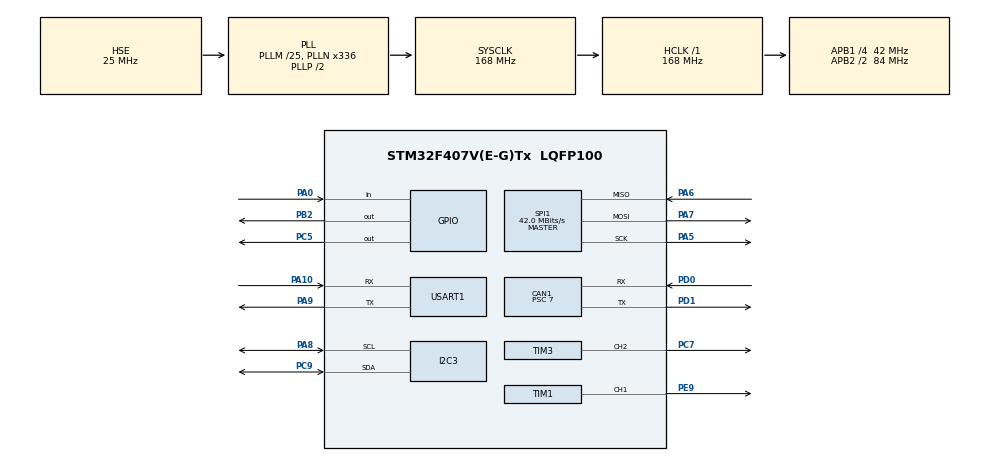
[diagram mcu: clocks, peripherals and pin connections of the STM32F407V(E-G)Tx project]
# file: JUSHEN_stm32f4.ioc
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CAN1.BS1=CAN_BS1_8TQ
CAN1.BS2=CAN_BS2_3TQ
CAN1.CalculateBaudRate=499999
CAN1.CalculateTimeBit=2000
CAN1.CalculateTimeQuantum=166.66666666666669
CAN1.Prescaler=7
Mcu.Family=STM32F4
Mcu.Name=STM32F407V(E-G)Tx
Mcu.Package=LQFP100
NVIC.PriorityGroup=NVIC_PRIORITYGROUP_4
PA0-WKUP.Signal=GPIO_Input
PA10.Mode=Asynchronous
PA10.Signal=USART1_RX
PD0.Mode=CAN_Activate
PD0.Signal=CAN1_RX
PD1.Mode=CAN_Activate
PD1.Signal=CAN1_TX
PA13.Mode=Serial_Wire
PA13.Signal=SYS_JTMS-SWDIO
PA14.Mode=Serial_Wire
PA14.Signal=SYS_JTCK-SWCLK
PA5.Mode=Full_Duplex_Master
PA5.Signal=SPI1_SCK
PA6.Mode=Full_Duplex_Master
PA6.Signal=SPI1_MISO
PA7.Mode=Full_Duplex_Master
PA7.Signal=SPI1_MOSI
PA9.Mode=Asynchronous
PA9.Signal=USART1_TX
PB2.Signal=GPIO_Output
PA8.Mode=I2C
PA8.Signal=I2C3_SCL
PC9.Mode=I2C
PC9.Signal=I2C3_SDA
PC14-OSC32_IN.Mode=LSE-External-Oscillator
PC14-OSC32_IN.Signal=RCC_OSC32_IN
PC15-OSC32_OUT.Mode=LSE-External-Oscillator
PC15-OSC32_OUT.Signal=RCC_OSC32_OUT
PC5.Signal=GPIO_Output
PC7.Signal=S_TIM3_CH2
PE9.GPIO_PuPd=GPIO_PULLDOWN
PE9.GPIO_Speed=GPIO_SPEED_FREQ_HIGH
PE9.Signal=S_TIM1_CH1
PH0-OSC_IN.Mode=HSE-External-Oscillator
PH0-OSC_IN.Signal=RCC_OSC_IN
PH1-OSC_OUT.Mode=HSE-External-Oscillator
PH1-OSC_OUT.Signal=RCC_OSC_OUT
ProjectManager.HeapSize=0x200
ProjectManager.StackSize=0x400
ProjectManager.TargetToolchain=MDK-ARM V5.32
RCC.48MHZClocksFreq_Value=84000000
RCC.AHBFreq_Value=168000000
RCC.APB1CLKDivider=RCC_HCLK_DIV4
RCC.APB1Freq_Value=42000000
RCC.APB1TimFreq_Value=84000000
RCC.APB2CLKDivider=RCC_HCLK_DIV2
RCC.APB2Freq_Value=84000000
RCC.APB2TimFreq_Value=168000000
RCC.CortexFreq_Value=168000000
RCC.HCLKFreq_Value=168000000
RCC.HSE_VALUE=25000000
RCC.HSI_VALUE=16000000
RCC.PLLM=25
RCC.PLLN=336
RCC.PLLSourceVirtual=RCC_PLLSOURCE_HSE
RCC.SYSCLKFreq_VALUE=168000000
RCC.SYSCLKSource=RCC_SYSCLKSOURCE_PLLCLK
RCC.VCOOutputFreq_Value=336000000
SH.S_TIM1_CH1.0=TIM1_CH1,PWM Generation1 CH1
SH.S_TIM3_CH2.0=TIM3_CH2,PWM Generation2 CH2
SPI1.CalculateBaudRate=42.0 MBits/s
SPI1.Direction=SPI_DIRECTION_2LINES
SPI1.Mode=SPI_MODE_MASTER
SPI1.VirtualType=VM_MASTER
TIM1.AutoReloadPreload=TIM_AUTORELOAD_PRELOAD_ENABLE
TIM1.Channel-PWM\ Generation1\ CH1=TIM_CHANNEL_1
TIM1.Period=1000
TIM1.Prescaler=168-1
TIM1.Pulse-PWM\ Generation1\ CH1=500
TIM3.AutoReloadPreload=TIM_AUTORELOAD_PRELOAD_ENABLE
TIM3.Channel-PWM\ Generation2\ CH2=TIM_CHANNEL_2
TIM3.OC2Preload_PWM=DISABLE
TIM3.Period=1000
TIM3.Prescaler=168-1
TIM3.Pulse-PWM\ Generation2\ CH2=100
USART1.VirtualMode=VM_ASYNC
VP_TIM1_VS_ClockSourceINT.Mode=Internal
VP_TIM3_VS_ClockSourceINT.Mode=Internal
board=custom

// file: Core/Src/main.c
/* USER CODE BEGIN Header */
/**
  ******************************************************************************
  * @file           : main.c
  * @brief          : Main program body
  ******************************************************************************
  * @attention
  *
  * Copyright (c) 2026 STMicroelectronics.
  * All rights reserved.
  *
  * This software is licensed under terms that can be found in the LICENSE file
  * in the root directory of this software component.
  * If no LICENSE file comes with this software, it is provided AS-IS.
  *
  ******************************************************************************
  */
/* USER CODE END Header */
#include "main.h"

/* USER CODE BEGIN Includes */
#include "bms.h"
#include "can.h"
#include "power_manager.h"
#include "power_comm_slave.h"
#include <stdio.h>
/* USER CODE END Includes */

CAN_HandleTypeDef hcan1;

I2C_HandleTypeDef hi2c3;

SPI_HandleTypeDef hspi1;

TIM_HandleTypeDef htim1;
TIM_HandleTypeDef htim3;

UART_HandleTypeDef huart1;

/* USER CODE BEGIN PV */
CAN_TxHeaderTypeDef TxHeader;
CAN_RxHeaderTypeDef RxHeader;
uint8_t TxData[8];
uint8_t RxData[8];
uint32_t TxMailbox;

#define SPI_CS_GPIO_PORT GPIOB
#define SPI_CS_PIN GPIO_PIN_1
/* USER CODE END PV */

void SystemClock_Config(void);
static void MX_GPIO_Init(void);
static void MX_CAN1_Init(void);
static void MX_I2C3_Init(void);
static void MX_USART1_UART_Init(void);
static void MX_SPI1_Init(void);
static void MX_TIM1_Init(void);
static void MX_TIM3_Init(void);

/* USER CODE BEGIN 0 */
void CAN_Filter_Config(void)
{
    CAN_FilterTypeDef CAN_FilterConfig;

    CAN_FilterConfig.FilterBank = 0;
    CAN_FilterConfig.FilterMode = CAN_FILTERMODE_IDMASK;
    CAN_FilterConfig.FilterScale = CAN_FILTERSCALE_32BIT;
    CAN_FilterConfig.FilterIdHigh = 0x0000;
    CAN_FilterConfig.FilterIdLow = 0x0000;
    CAN_FilterConfig.FilterMaskIdHigh = 0x0000;
    CAN_FilterConfig.FilterMaskIdLow = 0x0000;
    CAN_FilterConfig.FilterFIFOAssignment = CAN_RX_FIFO0;
    CAN_FilterConfig.FilterActivation = ENABLE;
    CAN_FilterConfig.SlaveStartFilterBank = 14;

    if(HAL_CAN_ConfigFilter(&hcan1, &CAN_FilterConfig) != HAL_OK)
    {
        Error_Handler();
    }
}

HAL_StatusTypeDef CAN_Send_Message(uint16_t StdId, uint8_t *Data, uint8_t Length)
{
    TxHeader.StdId = StdId;
    TxHeader.ExtId = 0x00;
    TxHeader.IDE = CAN_ID_STD;
    TxHeader.RTR = CAN_RTR_DATA;
    TxHeader.DLC = Length;
    TxHeader.TransmitGlobalTime = DISABLE;

    if(HAL_CAN_AddTxMessage(&hcan1, &TxHeader, Data, &TxMailbox) != HAL_OK)
    {
        return HAL_ERROR;
    }
    return HAL_OK;
}

void SPI_CS_Select(void)
{
    HAL_GPIO_WritePin(SPI_CS_GPIO_PORT, SPI_CS_PIN, GPIO_PIN_RESET);
}

void SPI_CS_Deselect(void)
{
    HAL_GPIO_WritePin(SPI_CS_GPIO_PORT, SPI_CS_PIN, GPIO_PIN_SET);
}
/* USER CODE END 0 */

int main(void)
{

  /* MCU Configuration--------------------------------------------------------*/

  /* Reset of all peripherals, Initializes the Flash interface and the Systick. */
  HAL_Init();

  /* Configure the system clock */
  SystemClock_Config();

  /* Initialize all configured peripherals */
  MX_GPIO_Init();
  MX_CAN1_Init();
  MX_I2C3_Init();
  MX_USART1_UART_Init();
  MX_SPI1_Init();
  MX_TIM1_Init();
  MX_TIM3_Init();
  /* USER CODE BEGIN 2 */
  HAL_TIM_PWM_Start(&htim1, TIM_CHANNEL_1);
  HAL_TIM_PWM_Start(&htim3, TIM_CHANNEL_2);
  /* USER CODE END 2 */

  /* Infinite loop */
  /* USER CODE BEGIN WHILE */
#if 0
  uint8_t spi_tx_buf[8] = {0x01, 0x02, 0x03, 0x04, 0x05, 0x06, 0x07, 0x08};
  uint8_t spi_rx_buf[8];
#endif
  uint16_t pwm_duty = 0;
  int pwm_dir = 1;
  uint32_t tick_count = 0;
  uint32_t last_query_tick = 0;
  uint8_t query_index = 0;
  BMS_QueryTypeDef query_sequence[] = {
      BMS_QUERY_BASIC_STATUS,
      BMS_QUERY_CELL_VOLTAGE,
      BMS_QUERY_TEMP_VERSION,
      BMS_QUERY_LIMIT_PARAMS,
      BMS_QUERY_EXTENDED_STATUS
  };

  BMS_Init(&g_bms_handle);
  CAN_Init();

  PowerManager_Init(&g_power_manager);
  PowerCommSlave_Init(&g_power_comm, POWER_COMM_I2C);

  printf("\r\n========================================\r\n");
  printf("STM32F4 Power Management System\r\n");
  printf("Version: 1.0.0\r\n");
  printf("Comm Mode: I2C (Address: 0x%02X)\r\n", POWER_COMM_I2C_ADDRESS);
  printf("========================================\r\n");

  while (1)
  {
    tick_count++;

    pwm_duty += pwm_dir * 10;
    if(pwm_duty >= 1000)
    {
        pwm_duty = 1000;
        pwm_dir = -1;
    }
    if(pwm_duty <= 0)
    {
        pwm_duty = 0;
        pwm_dir = 1;
    }

    __HAL_TIM_SET_COMPARE(&htim3, TIM_CHANNEL_2, pwm_duty);

    CAN_RxFrameTypeDef rx_frame;
    while(CAN_GetRxFrame(&rx_frame))
    {
        BMS_ParseFrame(&g_bms_handle, rx_frame.StdId, rx_frame.Data, rx_frame.DLC);
        g_power_manager.can_rx_count++;
    }

    if(tick_count - last_query_tick >= 100)
    {
        last_query_tick = tick_count;
        BMS_SendControlFrame(&g_bms_handle, BMS_MSG_IDLE, query_sequence[query_index], BMS_CHARGER_CTRL_MANUAL_ON);
        query_index = (query_index + 1) % 5;
    }

    BMS_Process(&g_bms_handle, HAL_GetTick());

    PowerManager_UpdateFromBMS(&g_power_manager, &g_bms_handle);

    PowerManager_Process(&g_power_manager, HAL_GetTick());

    PowerCommSlave_Process(&g_power_comm, &g_power_manager);

    BMS_SafeStateTypeDef safe_state = BMS_Safety_GetState(&g_bms_handle);
    BMS_ProtectActionTypeDef protect_action = BMS_Safety_GetProtection(&g_bms_handle);

    bool charge_allowed = BMS_IsChargeAllowed(&g_bms_handle);
    bool discharge_allowed = BMS_IsDischargeAllowed(&g_bms_handle);

    bool operation_safe = PowerManager_IsOperationSafe(&g_power_manager);

    if(tick_count % 500 == 0)
    {
        printf("[Power] SOC=%d%%, SOH=%d%%, State=%s, Level=%s\r\n",
               g_power_manager.battery.soc,
               g_power_manager.battery.soh,
               PowerManager_GetStateString(g_power_manager.system_state),
               PowerManager_GetPowerLevelString(g_power_manager.power_level));

        if (PowerManager_HasPendingEvent(&g_power_manager)) {
            uint8_t event_data;
            EventType_t event = PowerManager_GetPendingEvent(&g_power_manager, &event_data);
            printf("[Power] Event: %s (data=%d)\r\n",
                   PowerManager_GetEventString(event), event_data);
        }
    }

    if(tick_count % 100 == 0)
    {
        static uint8_t motor_sim_id = 0;
        static uint16_t motor_sim_voltage = 48000;
        static int16_t motor_sim_current = 1500;

        PowerManager_UpdateMotorStatus(&g_power_manager, motor_sim_id,
                                       motor_sim_voltage, motor_sim_current,
                                       true, false, false);

        motor_sim_id = (motor_sim_id + 1) % 4;
        motor_sim_voltage = 48000 + (tick_count % 100) * 10;
        motor_sim_current = 1500 + (tick_count % 50) * 20;
    }

    HAL_Delay(10);
    /* USER CODE END WHILE */

  }
}

void SystemClock_Config(void)
{
  RCC_OscInitTypeDef RCC_OscInitStruct = {0};
  RCC_ClkInitTypeDef RCC_ClkInitStruct = {0};

  /** Configure the main internal regulator output voltage
  */
  __HAL_RCC_PWR_CLK_ENABLE();
  __HAL_PWR_VOLTAGESCALING_CONFIG(PWR_REGULATOR_VOLTAGE_SCALE1);

  /** Initializes the RCC Oscillators according to the specified parameters
  * in the RCC_OscInitTypeDef structure.
  */
  RCC_OscInitStruct.OscillatorType = RCC_OSCILLATORTYPE_HSE;
  RCC_OscInitStruct.HSEState = RCC_HSE_ON;
  RCC_OscInitStruct.PLL.PLLState = RCC_PLL_ON;
  RCC_OscInitStruct.PLL.PLLSource = RCC_PLLSOURCE_HSE;
  RCC_OscInitStruct.PLL.PLLM = 25;
  RCC_OscInitStruct.PLL.PLLN = 336;
  RCC_OscInitStruct.PLL.PLLP = RCC_PLLP_DIV2;
  RCC_OscInitStruct.PLL.PLLQ = 4;
  if (HAL_RCC_OscConfig(&RCC_OscInitStruct) != HAL_OK)
  {
    Error_Handler();
  }

  /** Initializes the CPU, AHB and APB buses clocks
  */
  RCC_ClkInitStruct.ClockType = RCC_CLOCKTYPE_HCLK|RCC_CLOCKTYPE_SYSCLK
                              |RCC_CLOCKTYPE_PCLK1|RCC_CLOCKTYPE_PCLK2;
  RCC_ClkInitStruct.SYSCLKSource = RCC_SYSCLKSOURCE_PLLCLK;
  RCC_ClkInitStruct.AHBCLKDivider = RCC_SYSCLK_DIV1;
  RCC_ClkInitStruct.APB1CLKDivider = RCC_HCLK_DIV4;
  RCC_ClkInitStruct.APB2CLKDivider = RCC_HCLK_DIV2;

  if (HAL_RCC_ClockConfig(&RCC_ClkInitStruct, FLASH_LATENCY_5) != HAL_OK)
  {
    Error_Handler();
  }
}

static void MX_CAN1_Init(void)
{

  hcan1.Instance = CAN1;
  hcan1.Init.Prescaler = 7;
  hcan1.Init.Mode = CAN_MODE_NORMAL;
  hcan1.Init.SyncJumpWidth = CAN_SJW_1TQ;
  hcan1.Init.TimeSeg1 = CAN_BS1_8TQ;
  hcan1.Init.TimeSeg2 = CAN_BS2_3TQ;
  hcan1.Init.TimeTriggeredMode = DISABLE;
  hcan1.Init.AutoBusOff = DISABLE;
  hcan1.Init.AutoWakeUp = DISABLE;
  hcan1.Init.AutoRetransmission = DISABLE;
  hcan1.Init.ReceiveFifoLocked = DISABLE;
  hcan1.Init.TransmitFifoPriority = DISABLE;
  if (HAL_CAN_Init(&hcan1) != HAL_OK)
  {
    Error_Handler();
  }
  /* USER CODE BEGIN CAN1_Init 2 */
  /* CAN_Init()会在用户代码区域调用，这里只做HAL层初始化 */
  /* USER CODE END CAN1_Init 2 */

}

static void MX_I2C3_Init(void)
{

  hi2c3.Instance = I2C3;
  hi2c3.Init.ClockSpeed = 100000;
  hi2c3.Init.DutyCycle = I2C_DUTYCYCLE_2;
  hi2c3.Init.OwnAddress1 = (POWER_COMM_I2C_ADDRESS << 1);
  hi2c3.Init.AddressingMode = I2C_ADDRESSINGMODE_7BIT;
  hi2c3.Init.DualAddressMode = I2C_DUALADDRESS_DISABLE;
  hi2c3.Init.OwnAddress2 = 0;
  hi2c3.Init.GeneralCallMode = I2C_GENERALCALL_DISABLE;
  hi2c3.Init.NoStretchMode = I2C_NOSTRETCH_DISABLE;
  if (HAL_I2C_Init(&hi2c3) != HAL_OK)
  {
    Error_Handler();
  }

}

static void MX_SPI1_Init(void)
{

  /* SPI1 parameter configuration*/
  hspi1.Instance = SPI1;
  hspi1.Init.Mode = SPI_MODE_MASTER;
  hspi1.Init.Direction = SPI_DIRECTION_2LINES;
  hspi1.Init.DataSize = SPI_DATASIZE_8BIT;
  hspi1.Init.CLKPolarity = SPI_POLARITY_LOW;
  hspi1.Init.CLKPhase = SPI_PHASE_1EDGE;
  hspi1.Init.NSS = SPI_NSS_SOFT;
  hspi1.Init.BaudRatePrescaler = SPI_BAUDRATEPRESCALER_2;
  hspi1.Init.FirstBit = SPI_FIRSTBIT_MSB;
  hspi1.Init.TIMode = SPI_TIMODE_DISABLE;
  hspi1.Init.CRCCalculation = SPI_CRCCALCULATION_DISABLE;
  hspi1.Init.CRCPolynomial = 10;
  if (HAL_SPI_Init(&hspi1) != HAL_OK)
  {
    Error_Handler();
  }

}

static void MX_TIM1_Init(void)
{

  TIM_ClockConfigTypeDef sClockSourceConfig = {0};
  TIM_MasterConfigTypeDef sMasterConfig = {0};
  TIM_OC_InitTypeDef sConfigOC = {0};
  TIM_BreakDeadTimeConfigTypeDef sBreakDeadTimeConfig = {0};

  htim1.Instance = TIM1;
  htim1.Init.Prescaler = 168-1;
  htim1.Init.CounterMode = TIM_COUNTERMODE_UP;
  htim1.Init.Period = 1000;
  htim1.Init.ClockDivision = TIM_CLOCKDIVISION_DIV1;
  htim1.Init.RepetitionCounter = 0;
  htim1.Init.AutoReloadPreload = TIM_AUTORELOAD_PRELOAD_ENABLE;
  if (HAL_TIM_Base_Init(&htim1) != HAL_OK)
  {
    Error_Handler();
  }
  sClockSourceConfig.ClockSource = TIM_CLOCKSOURCE_INTERNAL;
  if (HAL_TIM_ConfigClockSource(&htim1, &sClockSourceConfig) != HAL_OK)
  {
    Error_Handler();
  }
  if (HAL_TIM_PWM_Init(&htim1) != HAL_OK)
  {
    Error_Handler();
  }
  sMasterConfig.MasterOutputTrigger = TIM_TRGO_RESET;
  sMasterConfig.MasterSlaveMode = TIM_MASTERSLAVEMODE_DISABLE;
  if (HAL_TIMEx_MasterConfigSynchronization(&htim1, &sMasterConfig) != HAL_OK)
  {
    Error_Handler();
  }
  sConfigOC.OCMode = TIM_OCMODE_PWM1;
  sConfigOC.Pulse = 500;
  sConfigOC.OCPolarity = TIM_OCPOLARITY_HIGH;
  sConfigOC.OCNPolarity = TIM_OCNPOLARITY_HIGH;
  sConfigOC.OCFastMode = TIM_OCFAST_DISABLE;
  sConfigOC.OCIdleState = TIM_OCIDLESTATE_RESET;
  sConfigOC.OCNIdleState = TIM_OCNIDLESTATE_RESET;
  if (HAL_TIM_PWM_ConfigChannel(&htim1, &sConfigOC, TIM_CHANNEL_1) != HAL_OK)
  {
    Error_Handler();
  }
  sBreakDeadTimeConfig.OffStateRunMode = TIM_OSSR_DISABLE;
  sBreakDeadTimeConfig.OffStateIDLEMode = TIM_OSSI_DISABLE;
  sBreakDeadTimeConfig.LockLevel = TIM_LOCKLEVEL_OFF;
  sBreakDeadTimeConfig.DeadTime = 0;
  sBreakDeadTimeConfig.BreakState = TIM_BREAK_DISABLE;
  sBreakDeadTimeConfig.BreakPolarity = TIM_BREAKPOLARITY_HIGH;
  sBreakDeadTimeConfig.AutomaticOutput = TIM_AUTOMATICOUTPUT_DISABLE;
  if (HAL_TIMEx_ConfigBreakDeadTime(&htim1, &sBreakDeadTimeConfig) != HAL_OK)
  {
    Error_Handler();
  }
  HAL_TIM_MspPostInit(&htim1);

}

static void MX_TIM3_Init(void)
{

  TIM_ClockConfigTypeDef sClockSourceConfig = {0};
  TIM_MasterConfigTypeDef sMasterConfig = {0};
  TIM_OC_InitTypeDef sConfigOC = {0};

  htim3.Instance = TIM3;
  htim3.Init.Prescaler = 168-1;
  htim3.Init.CounterMode = TIM_COUNTERMODE_UP;
  htim3.Init.Period = 1000;
  htim3.Init.ClockDivision = TIM_CLOCKDIVISION_DIV1;
  htim3.Init.AutoReloadPreload = TIM_AUTORELOAD_PRELOAD_ENABLE;
  if (HAL_TIM_Base_Init(&htim3) != HAL_OK)
  {
    Error_Handler();
  }
  sClockSourceConfig.ClockSource = TIM_CLOCKSOURCE_INTERNAL;
  if (HAL_TIM_ConfigClockSource(&htim3, &sClockSourceConfig) != HAL_OK)
  {
    Error_Handler();
  }
  if (HAL_TIM_PWM_Init(&htim3) != HAL_OK)
  {
    Error_Handler();
  }
  sMasterConfig.MasterOutputTrigger = TIM_TRGO_RESET;
  sMasterConfig.MasterSlaveMode = TIM_MASTERSLAVEMODE_DISABLE;
  if (HAL_TIMEx_MasterConfigSynchronization(&htim3, &sMasterConfig) != HAL_OK)
  {
    Error_Handler();
  }
  sConfigOC.OCMode = TIM_OCMODE_PWM1;
  sConfigOC.Pulse = 100;
  sConfigOC.OCPolarity = TIM_OCPOLARITY_HIGH;
  sConfigOC.OCFastMode = TIM_OCFAST_DISABLE;
  if (HAL_TIM_PWM_ConfigChannel(&htim3, &sConfigOC, TIM_CHANNEL_2) != HAL_OK)
  {
    Error_Handler();
  }
  __HAL_TIM_DISABLE_OCxPRELOAD(&htim3, TIM_CHANNEL_2);
  HAL_TIM_MspPostInit(&htim3);

}

static void MX_USART1_UART_Init(void)
{

  huart1.Instance = USART1;
  huart1.Init.BaudRate = 115200;
  huart1.Init.WordLength = UART_WORDLENGTH_8B;
  huart1.Init.StopBits = UART_STOPBITS_1;
  huart1.Init.Parity = UART_PARITY_NONE;
  huart1.Init.Mode = UART_MODE_TX_RX;
  huart1.Init.HwFlowCtl = UART_HWCONTROL_NONE;
  huart1.Init.OverSampling = UART_OVERSAMPLING_16;
  if (HAL_UART_Init(&huart1) != HAL_OK)
  {
    Error_Handler();
  }

}

static void MX_GPIO_Init(void)
{
  GPIO_InitTypeDef GPIO_InitStruct = {0};

  /* GPIO Ports Clock Enable */
  __HAL_RCC_GPIOC_CLK_ENABLE();
  __HAL_RCC_GPIOH_CLK_ENABLE();
  __HAL_RCC_GPIOA_CLK_ENABLE();
  __HAL_RCC_GPIOB_CLK_ENABLE();
  __HAL_RCC_GPIOE_CLK_ENABLE();
  __HAL_RCC_GPIOD_CLK_ENABLE();  /* ✅ 使能GPIOD时钟（用于CAN1: PD0/PD1） */

  /*Configure GPIO pin Output Level */
  HAL_GPIO_WritePin(GPIOC, GPIO_PIN_5, GPIO_PIN_RESET);

  /*Configure GPIO pin Output Level */
  HAL_GPIO_WritePin(GPIOB, GPIO_PIN_2, GPIO_PIN_RESET);

  /*Configure GPIO pin : PA0 */
  GPIO_InitStruct.Pin = GPIO_PIN_0;
  GPIO_InitStruct.Mode = GPIO_MODE_INPUT;
  GPIO_InitStruct.Pull = GPIO_NOPULL;
  HAL_GPIO_Init(GPIOA, &GPIO_InitStruct);

  /*Configure GPIO pin : PC5 */
  GPIO_InitStruct.Pin = GPIO_PIN_5;
  GPIO_InitStruct.Mode = GPIO_MODE_OUTPUT_PP;
  GPIO_InitStruct.Pull = GPIO_NOPULL;
  GPIO_InitStruct.Speed = GPIO_SPEED_FREQ_LOW;
  HAL_GPIO_Init(GPIOC, &GPIO_InitStruct);

  /*Configure GPIO pin : PB2 */
  GPIO_InitStruct.Pin = GPIO_PIN_2;
  GPIO_InitStruct.Mode = GPIO_MODE_OUTPUT_PP;
  GPIO_InitStruct.Pull = GPIO_NOPULL;
  GPIO_InitStruct.Speed = GPIO_SPEED_FREQ_LOW;
  HAL_GPIO_Init(GPIOB, &GPIO_InitStruct);

}

void Error_Handler(void)
{
  __disable_irq();
  while (1)
  {
  }
}
